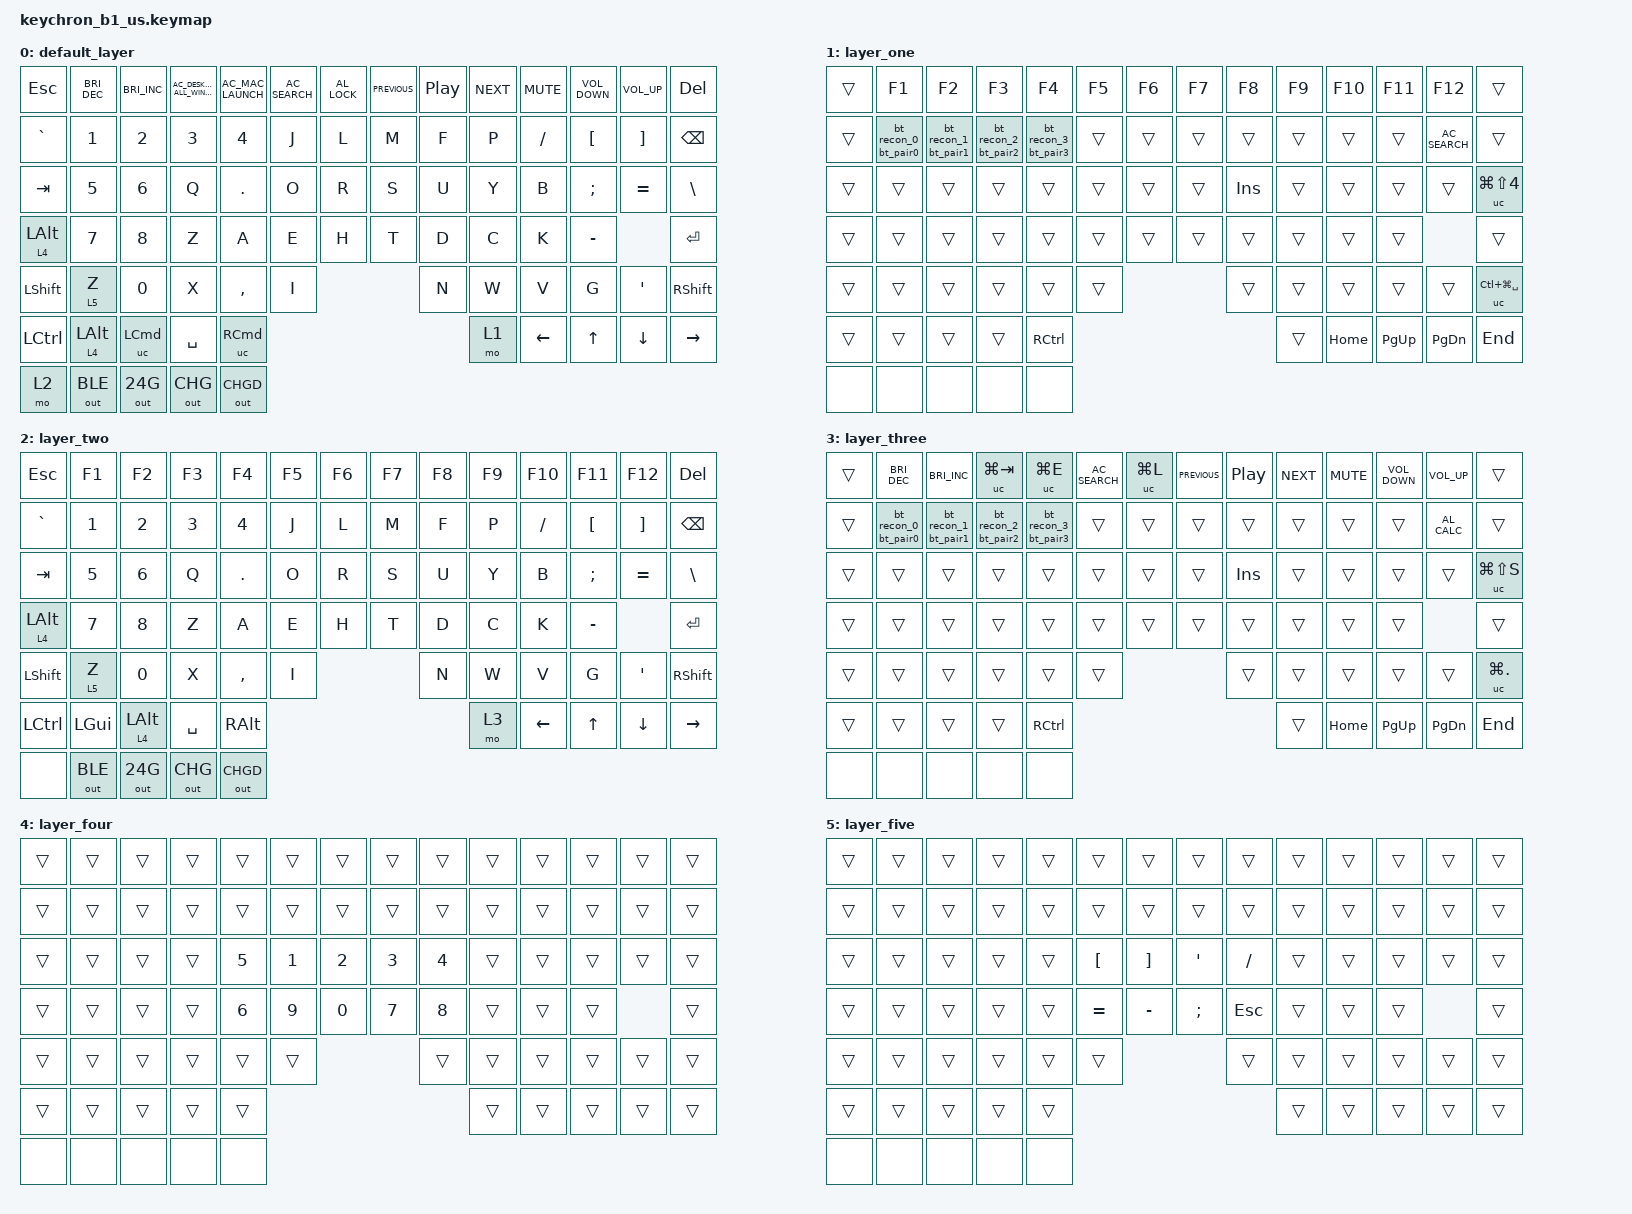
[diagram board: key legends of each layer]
/*
 * Copyright (c) 2023 The ZMK Contributors
 *
 * SPDX-License-Identifier: MIT
 *
 * --- MODIFIED ---
 * Dvorak-style base layout dropped into default_layer (Mac) and layer_two
 * (Win), translated from a KMonad config by physical key legend. Two new
 * layers appended: layer_four (index 4, num pad) and layer_five (index 5,
 * prog symbols), both reached via hold-tap on the former Caps Lock key and
 * the Z key respectively (tap = normal Alt / Z, hold = layer).
 * All combos, macros, BT-pairing behaviors, media keys, and the Mac/Win
 * Fn layers (layer_one, layer_three) are untouched from stock.
 */

#include <behaviors.dtsi>
#include <dt-bindings/zmk/keys.h>
#include <dt-bindings/zmk/rgb.h>
#include <dt-bindings/zmk/bt.h>
#include <dt-bindings/zmk/outputs.h>

/ {
    ZMK_MACRO(recover, bindings = <&out OUT_RECOVER>;)
    ZMK_MACRO(change, bindings = <&out OUT_FN>;)
    ZMK_MACRO(fn_win, bindings = <&out OUT_FN_WIN>;)

    ZMK_MACRO(en_bootloader, bindings = <&bootloader>;)
    ZMK_MACRO1(MA,bindings=<&kp 0x770000>;)

    long_press_recover:l1 {
        compatible = "zmk,behavior-hold-tap";
        label = "l1";
        #binding-cells = <2>;
        flavor = "tap-preferred";
        tapping-term-ms = <3000>;  // delay amount in ms
        bindings = <&recover>, <&none>;
    };

    long_press_change:l2{
        compatible = "zmk,behavior-hold-tap";
        label = "lp_change";
        #binding-cells = <2>;
        flavor = "tap-preferred";
        tapping-term-ms = <3000>;  // delay amount in ms
        bindings = <&change>, <&none>;
    };
    long_press_bootloader:l3{
        compatible = "zmk,behavior-hold-tap";
        label = "lp_bootloader";
        #binding-cells = <2>;
        flavor = "tap-preferred";
        tapping-term-ms = <3000>;  // delay amount in ms
        bindings = <&en_bootloader>, <&none>;
    };
    long_press_fn_win:l4{
        compatible = "zmk,behavior-hold-tap";
        label = "lp_fn_win";
        #binding-cells = <2>;
        flavor = "tap-preferred";
        tapping-term-ms = <3000>;
        bindings = <&fn_win>, <&none>;
    };


    combos1 {
        compatible = "zmk,combos";
        combo_jz {
            timeout-ms = <1000>;
            layers = <1 3>;
            key-positions = <49 56>; //fn+j+z
            bindings = <&long_press_recover 0 0>;
        };
        combo_xl {
            timeout-ms = <1000>;
            layers =< 1 3>;
            key-positions = <57 51>; //fn+x+l
            bindings = <&long_press_change 0 0>;
        };
        combo_b {
            timeout-ms = <1000>;
            layers =< 1 3>;
            //slow-release = <true>;
            key-positions = <60>; //fn+b
            bindings = <&out OUT_BAT>;
        };

        combo_win_l {
            timeout-ms = <1000>;
            layers =< 1 3>;
            //slow-release = <true>;
            key-positions = <68>; //fn+win
            bindings = <&long_press_fn_win 0 0>;
        };

        combo_t0 {
            timeout-ms = <10 >;
            layers =<4>;

            key-positions = <80 90>;
            bindings = <&to 3 >;
        };
        combo_t1 {
            timeout-ms = <10 >;
            layers =<4>;

            key-positions = <80 91>;
            bindings = <&tog 3 >;
        };
        combo_t2 {
            timeout-ms = <10 >;
            layers =<4>;

            key-positions = <80 92>;
            bindings = <&sl 3 >;
        };
        combo_t3 {
            timeout-ms = <10 >;
            layers =<4>;

            key-positions = <70 93>;
            bindings = <&lt 3 SPACE>;
        };
        combo_t4 {
            timeout-ms = <10 >;
            layers =<4>;

            key-positions = <81 94>;
            bindings = <&sk LSHIFT>;
        };
        combo_t5 {
            timeout-ms = <10 >;
            layers =<4>;

            key-positions = <81 93>;
            bindings = <&mt LSHIFT SPACE>;
        };
        combo_t6 {
            timeout-ms = <10 >;
            layers =<4>;

            key-positions = <81 93>;
            bindings = <&gresc>;
        };
    };

    td0 {
        compatible = "zmk,behavior-tap-dance";
        label = "TAPD_LAYER";
        #binding-cells = <1>;
        tapping-term-ms = <350>;
        bindings =<&mo 0>,<&mo 0>,<&mo 0>,<&mo 0>,<&to 0>;
    };
    ZMK_MACRO(bt_pair0, bindings = <&bt BT_PAIR 0>;)
    ZMK_MACRO(bt_pair1, bindings = <&bt BT_PAIR 1>;)
    ZMK_MACRO(bt_pair2, bindings = <&bt BT_PAIR 2>;)
    ZMK_MACRO(bt_pair3, bindings = <&bt BT_PAIR 3>;)
    ZMK_MACRO(bt_recon_0, bindings = <&bt BT_SEL 0>;)
    ZMK_MACRO(bt_recon_1, bindings = <&bt BT_SEL 1>;)
    ZMK_MACRO(bt_recon_2, bindings = <&bt BT_SEL 2>;)
    ZMK_MACRO(bt_recon_3, bindings = <&bt BT_SEL 3>;)



    bt_pair_0: bt_pair_0 {
        compatible = "zmk,behavior-hold-tap";
        label = "bt_pair0";
        #binding-cells = <2>;
        flavor = "tap-preferred";
        tapping-term-ms = <3000>;  // delay amount in ms
        bindings = <&bt_pair0>, <&bt_recon_0>;
    };
    bt_pair_1: bt_pair_1 {
        compatible = "zmk,behavior-hold-tap";
        label = "bt_pair1";
        #binding-cells = <2>;
        flavor = "tap-preferred";
        tapping-term-ms = <3000>;  // delay amount in ms
        bindings = <&bt_pair1>, <&bt_recon_1>;
    };
    bt_pair_2: bt_pair_2 {
        compatible = "zmk,behavior-hold-tap";
        label = "bt_pair2";
        #binding-cells = <2>;
        flavor = "tap-preferred";
        tapping-term-ms = <3000>;  // delay amount in ms
        bindings = <&bt_pair2>, <&bt_recon_2>;
    };
    bt_pair_3: bt_pair_3 {
        compatible = "zmk,behavior-hold-tap";
        label = "bt_pair3";
        #binding-cells = <2>;
        flavor = "tap-preferred";
        tapping-term-ms = <3000>;  // delay amount in ms
        bindings = <&bt_pair3>, <&bt_recon_3>;
    };
    uc:user_custom {
        compatible = "zmk,behavior-key-press";
        label ="user_custom";
        #binding-cells =<1>;
    };

        keymap {
        compatible = "zmk,keymap";
            //mac
        default_layer {
        bindings = <
          //ESC         //f1                    //f2                //f3                                    //f4                //f5                //f6            //f7            //f8                //f9        //f10       //f11               //f12               //DEL
        &kp ESC     &kp C_BRIGHTNESS_DEC    &kp C_BRIGHTNESS_INC    &kp C_AC_DESKTOP_SHOW_ALL_WINDOWS   &kp  C_AC_MAC_LAUNCH    &kp C_AC_SEARCH     &kp C_AL_LOCK   &kp C_PREVIOUS  &kp C_PLAY_PAUSE    &kp C_NEXT  &kp C_MUTE  &kp C_VOLUME_DOWN   &kp C_VOLUME_UP     &kp DEL
        &kp GRAVE   &kp N1                  &kp N2                  &kp N3                              &kp N4                  &kp J               &kp L           &kp M           &kp F               &kp P       &kp FSLH    &kp LBKT            &kp RBKT            &kp BSPC
        &kp TAB     &kp N5                  &kp N6                  &kp Q                               &kp DOT                 &kp O               &kp R           &kp S           &kp U               &kp Y       &kp B       &kp SEMI            &kp EQUAL           &kp BSLH
        &lt 4 LALT  &kp N7                  &kp N8                  &kp Z                               &kp A                   &kp E               &kp H           &kp T           &kp D               &kp C       &kp K       &kp MINUS                       &kp RET
        &kp LSHFT   &lt 5 Z                 &kp N0                  &kp X                               &kp COMMA               &kp I               &kp N           &kp W           &kp V               &kp G       &kp SQT                                     &kp RSHFT
        &kp LCTRL   &lt 4 LALT              &uc LCMD                       &kp SPACE                                                                                                &uc RCMD            &mo 1       &kp LEFT    &kp UP              &kp DOWN            &kp RIGHT
        &mo 2       &out OUT_BLE            &out OUT_24G            &out OUT_CHG                        &out OUT_CHGD
            >;
        };
        //mac
        layer_one  {
        bindings = <
        &trans      &kp F1                  &kp F2                  &kp F3                              &kp F4                  &kp F5              &kp F6          &kp F7          &kp F8              &kp F9      &kp F10     &kp F11             &kp F12             &trans
        &trans      &bt_pair_0 0 0          &bt_pair_1 0 0          &bt_pair_2 0 0                      &bt_pair_3 0 0          &trans              &trans          &trans          &trans              &trans      &trans      &trans              &kp C_AC_SEARCH     &trans
        &trans      &trans                  &trans                  &trans                              &trans                  &trans              &trans          &trans          &kp INS             &trans      &trans      &trans              &trans              &uc LG(LS(N4))
        &trans      &trans                  &trans                  &trans                              &trans                  &trans              &trans          &trans          &trans              &trans      &trans      &trans                      &trans
        &trans      &trans                  &trans                  &trans                              &trans                  &trans              &trans          &trans          &trans              &trans      &trans                                  &uc LC(LG(SPACE))
        &trans      &trans                  &trans                         &trans                                                                                                   &kp RCTRL           &trans        &kp HOME   &kp PG_UP   &kp PG_DN    &kp END
        //
        &none       &none                   &none                   &none                               &none
            >;
        };
        //win
        layer_two {
                bindings = <
        &kp ESC         &kp F1                 &kp F2                   &kp F3                              &kp F4                     &kp F5              &kp F6              &kp F7                 &kp F8              &kp F9           &kp F10    &kp F11                &kp F12                  &kp DEL
        &kp GRAVE       &kp N1                 &kp N2                   &kp N3                              &kp N4                     &kp J               &kp L               &kp M                  &kp F               &kp P            &kp FSLH   &kp LBKT               &kp RBKT                 &kp BSPC
        &kp TAB         &kp N5                 &kp N6                   &kp Q                               &kp DOT                    &kp O               &kp R               &kp S          &kp U               &kp Y            &kp B              &kp SEMI               &kp EQUAL                &kp BSLH
        &lt 4 LALT      &kp N7                 &kp N8                   &kp Z                               &kp A                      &kp E               &kp H               &kp T          &kp D               &kp C            &kp K      &kp MINUS                    &kp RET
        &kp LSHFT   &lt 5 Z                    &kp N0                   &kp X                               &kp COMMA                  &kp I               &kp N               &kp W          &kp V               &kp G        &kp SQT                                 &kp RSHFT
        &kp LCTRL       &kp LGUI               &lt 4 LALT                    &kp SPACE                                                                                                     &kp RALT           &mo 3             &kp LEFT       &kp UP      &kp DOWN &kp RIGHT
        //
        &none       &out OUT_BLE           &out OUT_24G             &out OUT_CHG                        &out OUT_CHGD
            >;
        };
        //win
        layer_three {
        bindings = <
                    //f1                    //f2                    //f3                                //f4                        //f5            //f6              //f7            //f8              //f9        //f10           //f11                         //f12
        &trans  &kp C_BRIGHTNESS_DEC    &kp C_BRIGHTNESS_INC        &uc LG(TAB)                         &uc LG(E)               &kp C_AC_SEARCH     &uc LG(L)       &kp C_PREVIOUS  &kp C_PLAY_PAUSE    &kp C_NEXT  &kp C_MUTE  &kp C_VOLUME_DOWN           &kp C_VOLUME_UP      &trans
        &trans  &bt_pair_0 0 0          &bt_pair_1 0 0              &bt_pair_2 0 0                      &bt_pair_3 0 0          &trans              &trans          &trans          &trans              &trans      &trans      &trans                      &kp C_AL_CALC        &trans
        &trans  &trans                  &trans                      &trans                              &trans                  &trans              &trans          &trans          &kp INS             &trans      &trans      &trans                      &trans               &uc LG(LS(S))
        &trans  &trans                  &trans                      &trans                              &trans                  &trans              &trans          &trans          &trans              &trans      &trans      &trans                              &trans
        &trans  &trans                  &trans                      &trans                              &trans                  &trans              &trans          &trans          &trans              &trans      &trans                                          &uc LG(DOT)
        &trans  &trans                  &trans                           &trans                                                                                                     &kp RCTRL           &trans      &kp HOME    &kp PG_UP    &kp PG_DN   &kp END
        //
        &none   &none                   &none                       &none                               &none
            >;
        };

        //num (index 4) — held via LALT tap-hold key
        layer_four {
        bindings = <
        &trans      &trans                  &trans                  &trans                              &trans                  &trans              &trans          &trans          &trans              &trans      &trans      &trans              &trans              &trans
        &trans      &trans                  &trans                  &trans                              &trans                  &trans              &trans          &trans          &trans              &trans      &trans      &trans              &trans              &trans
        &trans      &trans                  &trans                  &trans                              &kp N5                  &kp N1              &kp N2          &kp N3          &kp N4              &trans      &trans      &trans              &trans              &trans
        &trans      &trans                  &trans                  &trans                              &kp N6                  &kp N9              &kp N0          &kp N7          &kp N8              &trans      &trans      &trans                          &trans
        &trans      &trans                  &trans                  &trans                              &trans                  &trans              &trans          &trans          &trans              &trans      &trans                                      &trans
        &trans      &trans                  &trans                         &trans                                                                                                   &trans              &trans      &trans      &trans              &trans              &trans
        //
        &none       &none                   &none                   &none                               &none
            >;
        };

        //prog (index 5) — held via Z tap-hold key
        layer_five {
        bindings = <
        &trans      &trans                  &trans                  &trans                              &trans                  &trans              &trans          &trans          &trans              &trans      &trans      &trans              &trans              &trans
        &trans      &trans                  &trans                  &trans                              &trans                  &trans              &trans          &trans          &trans              &trans      &trans      &trans              &trans              &trans
        &trans      &trans                  &trans                  &trans                              &trans                  &kp LBKT            &kp RBKT        &kp SQT         &kp FSLH            &trans      &trans      &trans              &trans              &trans
        &trans      &trans                  &trans                  &trans                              &trans                  &kp EQUAL           &kp MINUS       &kp SEMI        &kp ESC             &trans      &trans      &trans                          &trans
        &trans      &trans                  &trans                  &trans                              &trans                  &trans              &trans          &trans          &trans              &trans      &trans                                      &trans
        &trans      &trans                  &trans                         &trans                                                                                                   &trans              &trans      &trans      &trans              &trans              &trans
        //
        &none       &none                   &none                   &none                               &none
            >;
        };


        };
};


